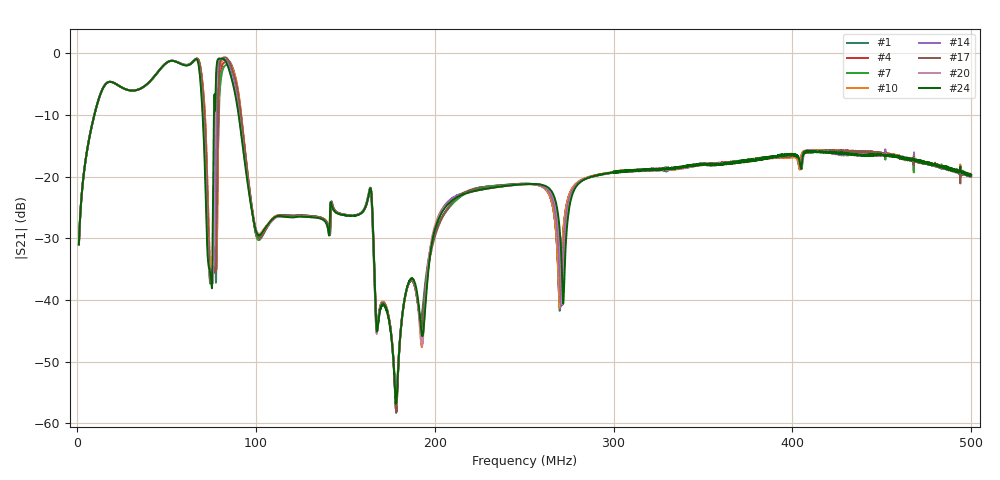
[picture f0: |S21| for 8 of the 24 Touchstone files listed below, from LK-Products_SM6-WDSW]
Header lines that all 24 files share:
! NanoVNA-App
! Start: 1MHz Stop: 500MHz Points: 6401
! S-Parameter data: F S11 S21 S12 S22
# Hz S RI R 50
!  Frequency  S11_Real  S11_Imag  S21_Real  S21_Imag  S12_Real  S12_Imag  S22_Real  S22_Imag
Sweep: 1 MHz to 500 MHz
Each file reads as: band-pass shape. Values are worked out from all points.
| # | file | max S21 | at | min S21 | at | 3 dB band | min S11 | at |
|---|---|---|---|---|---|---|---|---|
| 1 | 4MTX_6_6_12.s2p | -0.83 dB | 81.31 MHz | -56.7 dB | 178.3 MHz | 43.1 MHz-69.61 MHz | -29.3 dB | 81.15 MHz |
| 2 | 4MTX_6_6_13.s2p | -0.84 dB | 81.31 MHz | -56.9 dB | 178.5 MHz | 43.03 MHz-69.53 MHz | -39.1 dB | 81.15 MHz |
| 3 | 4MTX_6_7_6.s2p | -0.89 dB | 67.12 MHz | -57.9 dB | 178.5 MHz | 42.87 MHz-69.77 MHz | -19.1 dB | 67.35 MHz |
| 4 | 4MTX_6_8_6.s2p | -0.89 dB | 66.96 MHz | -58.0 dB | 178.5 MHz | 42.87 MHz-69.69 MHz | -18.9 dB | 67.27 MHz |
| 5 | 4MTX_6_9_6.s2p | -0.89 dB | 66.88 MHz | -58.1 dB | 178.5 MHz | 42.87 MHz-69.61 MHz | -18.6 dB | 67.2 MHz |
| 6 | 4MTX_6_10_6.s2p | -0.89 dB | 66.88 MHz | -57.8 dB | 178.5 MHz | 42.87 MHz-69.46 MHz | -18.5 dB | 67.2 MHz |
| 7 | 4MTX_6_11_6.s2p | -0.89 dB | 66.81 MHz | -57.7 dB | 178.3 MHz | 42.87 MHz-69.38 MHz | -18.2 dB | 67.12 MHz |
| 8 | 4MTX_6_12_6.s2p | -0.90 dB | 66.65 MHz | -57.8 dB | 178.5 MHz | 42.87 MHz-69.3 MHz | -18.0 dB | 67.04 MHz |
| 9 | 4MTX_7_6_6.s2p | -0.88 dB | 67.12 MHz | -57.4 dB | 178.3 MHz | 42.95 MHz-69.77 MHz | -19.7 dB | 67.35 MHz |
| 10 | 4MTX_7_7_7.s2p | -0.89 dB | 67.12 MHz | -57.2 dB | 178.5 MHz | 42.87 MHz-69.69 MHz | -19.0 dB | 67.35 MHz |
| 11 | 4MTX_8_6_6.s2p | -0.77 dB | 82.48 MHz | -57.4 dB | 178.2 MHz | 43.26 MHz-69.69 MHz | -29.9 dB | 79.98 MHz |
| 12 | 4MTX_8_8_8.s2p | -0.90 dB | 66.88 MHz | -56.8 dB | 178.5 MHz | 42.87 MHz-69.61 MHz | -18.9 dB | 67.27 MHz |
| 13 | 4MTX_9_6_6.s2p | -0.71 dB | 82.48 MHz | -57.9 dB | 178.3 MHz | 43.41 MHz-69.61 MHz | -21.7 dB | 67.35 MHz |
| 14 | 4MTX_9_9_9.s2p | -0.90 dB | 80.45 MHz | -56.7 dB | 178.3 MHz | 42.87 MHz-69.3 MHz | -18.6 dB | 67.12 MHz |
| 15 | 4MTX_10_6_6.s2p | -0.68 dB | 82.48 MHz | -58.4 dB | 178.5 MHz | 43.49 MHz-69.53 MHz | -24.7 dB | 82.56 MHz |
| 16 | 4MTX_10_10_10.s2p | -0.84 dB | 80.06 MHz | -57.7 dB | 178.5 MHz | 43.03 MHz-69.14 MHz | -18.5 dB | 67.04 MHz |
| 17 | 4MTX_11_6_6.s2p | -0.66 dB | 82.48 MHz | -58.3 dB | 178.5 MHz | 43.49 MHz-69.46 MHz | -32.1 dB | 82.56 MHz |
| 18 | 4MTX_11_11_11.s2p | -0.81 dB | 79.75 MHz | -57.4 dB | 178.3 MHz | 43.1 MHz-68.99 MHz | -19.7 dB | 79.44 MHz |
| 19 | 4MTX_12_6_6.s2p | -0.66 dB | 82.63 MHz | -58.0 dB | 178.5 MHz | 43.57 MHz-69.38 MHz | -44.0 dB | 82.63 MHz |
| 20 | 4MTX_12_12_12.s2p | -0.80 dB | 79.36 MHz | -56.8 dB | 178.5 MHz | 43.1 MHz-68.83 MHz | -24.8 dB | 79.12 MHz |
| 21 | 4MTX_13_6_6.s2p | -0.66 dB | 82.63 MHz | -58.0 dB | 178.5 MHz | 43.57 MHz-69.38 MHz | -29.9 dB | 82.63 MHz |
| 22 | 4MTX_13_12_13.s2p | -0.82 dB | 79.28 MHz | -56.9 dB | 178.2 MHz | 43.1 MHz-68.75 MHz | -24.3 dB | 78.97 MHz |
| 23 | 4MTX_14_6_6.s2p | -0.67 dB | 82.63 MHz | -57.2 dB | 178.5 MHz | 43.49 MHz-69.3 MHz | -28.0 dB | 67.27 MHz |
| 24 | 4MTX_14_12_13.s2p | -0.90 dB | 80.92 MHz | -56.9 dB | 178.2 MHz | 42.87 MHz-68.75 MHz | -18.6 dB | 66.81 MHz |
